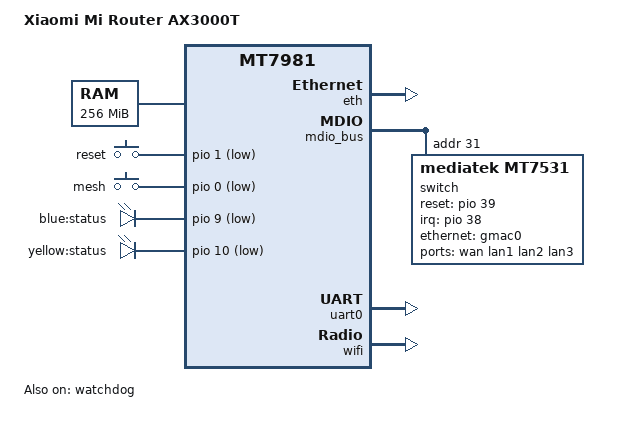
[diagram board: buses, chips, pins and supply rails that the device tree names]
// SPDX-License-Identifier: GPL-2.0-or-later OR MIT
/*
 * Xiaomi Mi Router AX3000T (RD03)
 *   SoC      : MediaTek MT7981B (Filogic 820)
 *   WiFi     : MT7976C (2.4G + 5G, DBDC)
 *   RAM      : 256MB DDR3
 *   Flash    : 128MB SPI-NAND (ESMT F50L1G41LB / Winbond W25N01GV)
 *   Ethernet : MT7981 internal MT7531 switch, 1x WAN + 3x LAN
 *   Buttons  : reset (GPIO1), mesh (GPIO0)
 *   LEDs     : blue:status (GPIO9), yellow:status (GPIO10)
 *
 * Derived from the hardware description used by ImmortalWrt / OpenWrt
 * (target/linux/mediatek/dts/mt7981b-xiaomi-mi-router-common.dtsi).
 */

/dts-v1/;
#include <dt-bindings/gpio/gpio.h>
#include <dt-bindings/input/input.h>

#include "mt7981.dtsi"

/ {
	model = "Xiaomi Mi Router AX3000T";
	compatible = "xiaomi,mi-router-ax3000t", "mediatek,mt7981";

	aliases {
		serial0 = &uart0;
		led-boot = &led_status_yellow;
		led-failsafe = &led_status_yellow;
		led-running = &led_status_blue;
		led-upgrade = &led_status_yellow;
	};

	chosen {
		stdout-path = "serial0:115200n8";
	};

	memory {
		reg = <0 0x40000000 0 0x10000000>;
	};

	gpio-keys {
		compatible = "gpio-keys";

		button-reset {
			label = "reset";
			linux,code = <KEY_RESTART>;
			gpios = <&pio 1 GPIO_ACTIVE_LOW>;
		};

		button-mesh {
			label = "mesh";
			linux,code = <BTN_9>;
			linux,input-type = <EV_SW>;
			gpios = <&pio 0 GPIO_ACTIVE_LOW>;
		};
	};

	gpio-leds {
		compatible = "gpio-leds";

		led_status_blue: led-0 {
			label = "blue:status";
			gpios = <&pio 9 GPIO_ACTIVE_LOW>;
		};

		led_status_yellow: led-1 {
			label = "yellow:status";
			gpios = <&pio 10 GPIO_ACTIVE_LOW>;
		};
	};
};

&eth {
	status = "okay";

	gmac0: mac@0 {
		compatible = "mediatek,eth-mac";
		reg = <0>;
		phy-mode = "2500base-x";

		fixed-link {
			speed = <2500>;
			full-duplex;
			pause;
		};
	};
};

&mdio_bus {
	switch: switch@1f {
		compatible = "mediatek,mt7531";
		reg = <31>;
		reset-gpios = <&pio 39 GPIO_ACTIVE_HIGH>;
		interrupt-controller;
		#interrupt-cells = <1>;
		interrupt-parent = <&pio>;
		interrupts = <38 IRQ_TYPE_LEVEL_HIGH>;
	};
};

&switch {
	ports {
		#address-cells = <1>;
		#size-cells = <0>;

		port@0 {
			reg = <0>;
			label = "wan";
		};

		port@1 {
			reg = <1>;
			label = "lan1";
		};

		port@2 {
			reg = <2>;
			label = "lan2";
		};

		port@3 {
			reg = <3>;
			label = "lan3";
		};

		port@6 {
			reg = <6>;
			ethernet = <&gmac0>;
			phy-mode = "2500base-x";

			fixed-link {
				speed = <2500>;
				full-duplex;
				pause;
			};
		};
	};
};

&uart0 {
	status = "okay";
};

&watchdog {
	status = "okay";
};

&wifi {
	status = "okay";
};
